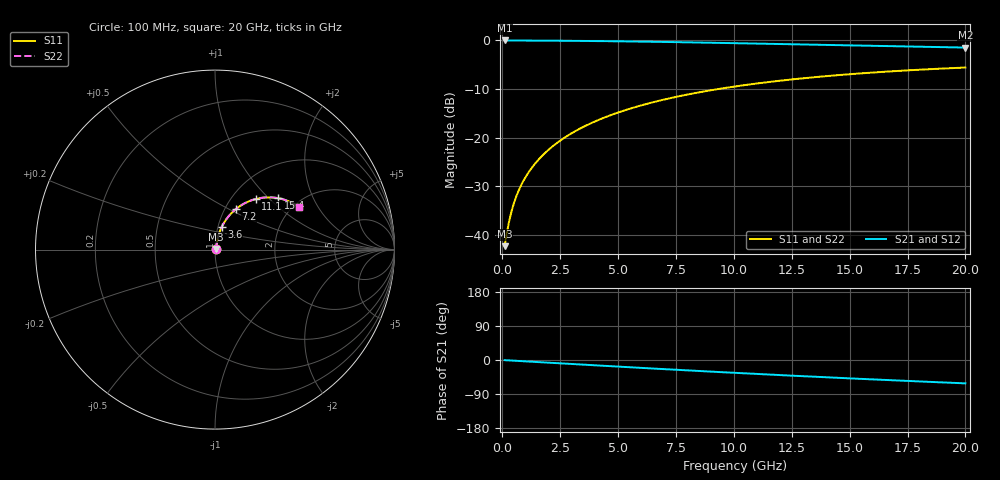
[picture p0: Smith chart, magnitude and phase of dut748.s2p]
! Touchstone file exported from HFSS 2026.1.0
!  File:  C:/ffzhzh/LocalFiles/Ansys_Project_Files/temp_train_TMRDL_748_1783155222_51560.aedt
!  Generated:  04:55:11 PM Jul  4, 2026
!  Design:  TMRDL
!  Project:  temp_train_TMRDL_748_1783155222_51560
! Variables:
!  h_bsmrdl = 2um
!  h_ox = 20um
!  h_rdl = 5um
!  h_sub = 80um
!  h_tmrdl = 2.09um
!  h_tsv = 80um
!  h_via = 3um
!  l_bsmrdl = 300um
!  l_sub = 1345.46um
!  l_tmrdl = 945.46um
!  m_sub = 200um
!  pitch = 57.5um
!  r_tsv = 6um
!  s_tmrdl = 10um
!  w_bsmrdl = 18um
!  w_sub = 500um
!  w_tmrdl = 25.83um
!  x_tsv_center1 = 958.375um
!  x_tsv_center2 = 1276.375um
!  x_tsv_center3 = 2247.665um
!  x_tsv_center4 = 2565.665um
!  x_tsv_center5 = 3536.955um
!  x_tsv_center6 = 3854.955um
# GHz S MA R 50.000000
! Terminal data exported
! Port[1] = TM_RDL1_1_T1
! Port[2] = TM_RDL1_1_T2
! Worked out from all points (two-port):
!   200 points, 100 MHz to 20 GHz, reference 50 ohm
!   highest |S21| = -0.06 dB at 100 MHz (marker M1); lowest = -1.5 dB at 20 GHz (marker M2)
!   |S21| within 3 dB of the highest: start of sweep to end of sweep
!   lowest |S11| = -42.3 dB at 100 MHz (marker M3), VSWR 1.02, Z = 50.7 + j0.414 ohm
!   |S11| at or under -10 dB: start of sweep to 9.372 GHz
!   |S22| runs from -42.3 to -5.6 dB; largest |S21 - S12| = 7.4e-15
!   S11 on the Smith chart (normalised r, x): 100 MHz: 1.01, +0.01; 3.6 GHz: 1.04, +0.27; 7.2 GHz: 1.12, +0.54; 11.1 GHz: 1.28, +0.83; 15.4 GHz: 1.59, +1.14; 20 GHz: 2.13, +1.40
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0.1  0.007667 32.2  0.9935 -0.4  0.9935 -0.4  0.007667 32.2
! Gamma 0 0 0 0
! Port Impedance 50 0 50 0
0.2  0.01055 50.2  0.9933 -0.8  0.9933 -0.8  0.01055 50.2
0.3  0.01397 59.3  0.993 -1.1  0.993 -1.1  0.01397 59.3
0.4  0.01754 64.4  0.9927 -1.5  0.9927 -1.5  0.01754 64.4
0.5  0.02114 67.6  0.9924 -1.8  0.9924 -1.8  0.02114 67.6
0.6  0.02473 69.8  0.9921 -2.2  0.9921 -2.2  0.02473 69.8
0.8  0.03189 72.6  0.9915 -2.9  0.9915 -2.9  0.03189 72.6
1.1  0.04264 74.8  0.9908 -3.9  0.9908 -3.9  0.04264 74.8
1.6  0.06062 76.1  0.9896 -5.7  0.9896 -5.7  0.06062 76.1
2.1  0.07865 76.1  0.9881 -7.4  0.9881 -7.4  0.07865 76.1
2.7  0.1002 75.3  0.986 -9.5  0.986 -9.5  0.1002 75.3
3.5  0.1287 73.6  0.9826 -12.3  0.9826 -12.3  0.1287 73.6
3.6  0.1322 73.4  0.9821 -12.7  0.9821 -12.7  0.1322 73.4
5  0.1807 69.5  0.9741 -17.5  0.9741 -17.5  0.1807 69.6
6.8  0.2397 64.1  0.9609 -23.5  0.9609 -23.5  0.2397 64.2
7.2  0.2523 62.9  0.9577 -24.8  0.9577 -24.8  0.2523 62.9
10.1  0.336 54.1  0.9311 -34.1  0.9311 -34.1  0.3361 54.2
11.1  0.3619 51.1  0.9213 -37.1  0.9213 -37.1  0.3619 51.2
13.4  0.4151 44.5  0.8983 -43.9  0.8983 -43.9  0.4152 44.6
15.4  0.4547 38.9  0.8788 -49.6  0.8788 -49.6  0.4548 39.1
16.7  0.4772 35.5  0.8668 -53.1  0.8668 -53.1  0.4773 35.6
20  0.5238 27.0  0.8397 -61.7  0.8397 -61.7  0.5238 27.2
